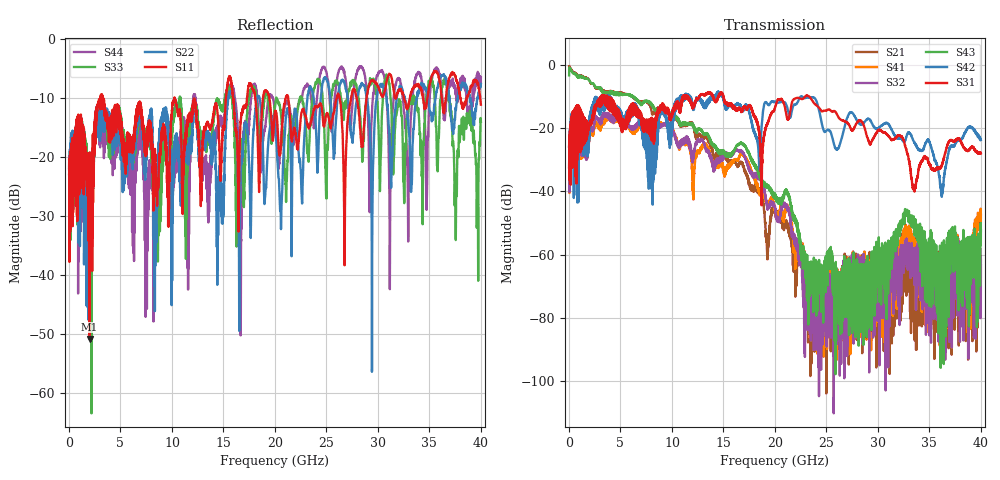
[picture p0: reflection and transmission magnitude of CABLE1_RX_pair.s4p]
!Keysight Technologies,N5245B,MY57181400,A.12.70.07
!Date: Monday, January 1, 2020 00:00:00
!Correction: S11(Full 16 Port(1,2,3,4,5,6,7,8,9,10,11,12,13,14,15,16))
!S12(Full 16 Port(1,2,3,4,5,6,7,8,9,10,11,12,13,14,15,16))
!S13(Full 16 Port(1,2,3,4,5,6,7,8,9,10,11,12,13,14,15,16))
!S14(Full 16 Port(1,2,3,4,5,6,7,8,9,10,11,12,13,14,15,16))
!S21(Full 16 Port(1,2,3,4,5,6,7,8,9,10,11,12,13,14,15,16))
!S22(Full 16 Port(1,2,3,4,5,6,7,8,9,10,11,12,13,14,15,16))
!S23(Full 16 Port(1,2,3,4,5,6,7,8,9,10,11,12,13,14,15,16))
!S24(Full 16 Port(1,2,3,4,5,6,7,8,9,10,11,12,13,14,15,16))
!S31(Full 16 Port(1,2,3,4,5,6,7,8,9,10,11,12,13,14,15,16))
!S32(Full 16 Port(1,2,3,4,5,6,7,8,9,10,11,12,13,14,15,16))
!S33(Full 16 Port(1,2,3,4,5,6,7,8,9,10,11,12,13,14,15,16))
!S34(Full 16 Port(1,2,3,4,5,6,7,8,9,10,11,12,13,14,15,16))
!S41(Full 16 Port(1,2,3,4,5,6,7,8,9,10,11,12,13,14,15,16))
!S42(Full 16 Port(1,2,3,4,5,6,7,8,9,10,11,12,13,14,15,16))
!S43(Full 16 Port(1,2,3,4,5,6,7,8,9,10,11,12,13,14,15,16))
!S44(Full 16 Port(1,2,3,4,5,6,7,8,9,10,11,12,13,14,15,16))
!S4P File: Measurements: <S11,S12,S13,S14>,
!<S21,S22,S23,S24>,
!<S31,S32,S33,S34>,
!<S41,S42,S43,S44>:
# Hz S  dB  R 50
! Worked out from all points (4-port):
!   6401 points, 10 MHz to 40 GHz, reference 50 ohm
!   strongest paths, dB at 10 MHz, 10.01 GHz, 20 GHz, 30 GHz, 40 GHz:
!     S31: -25.8, -16.3, -13.5, -20.9, -28.0
!     S42: -25.9, -20.4, -11.8, -20.2, -23.8
!     S43: -3.4, -15.3, -41.7, -61.8, -52.3
!     S32: -32.4, -20.0, -45.8, -67.7, -61.7
!     S41: -32.5, -19.9, -45.5, -63.1, -47.3
!     S21: -0.5, -15.4, -47.0, -61.9, -63.4
!   lowest |S11| = -50.8 dB at 1.991 GHz (marker M1), VSWR 1.01, Z = 50.2 + j0.247 ohm
!   |S11| at or under -10 dB: 3.322 GHz to 10.24 GHz (6.917 GHz wide, 102 % of centre); 10.26 GHz to 15.23 GHz (4.972 GHz wide, 39 % of centre); 21.3 GHz to 26.01 GHz (4.718 GHz wide, 19.9 % of centre)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
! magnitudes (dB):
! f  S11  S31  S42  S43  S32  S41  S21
! 10 MHz  -22.1  -25.8  -25.9  -3.4  -32.4  -32.5  -0.5
! 1.991 GHz  -50.8  -18.1  -16.4  -5.1  -22.8  -23.2  -5.0
! 15.72 GHz  -7.1  -12.9  -13.1  -28.0  -28.2  -30.9  -30.3
! 16.76 GHz  -12.7  -14.7  -13.7  -24.7  -27.2  -28.1  -30.8
! 23.42 GHz  -14.6  -10.4  -10.5  -64.3  -70.1  -67.4  -77.8
! 32.78 GHz  -11.6  -27.1  -22.6  -46.3  -61.4  -53.8  -61.7
! 40 GHz  -11.1  -28.0  -23.8  -52.3  -61.7  -47.3  -63.4
